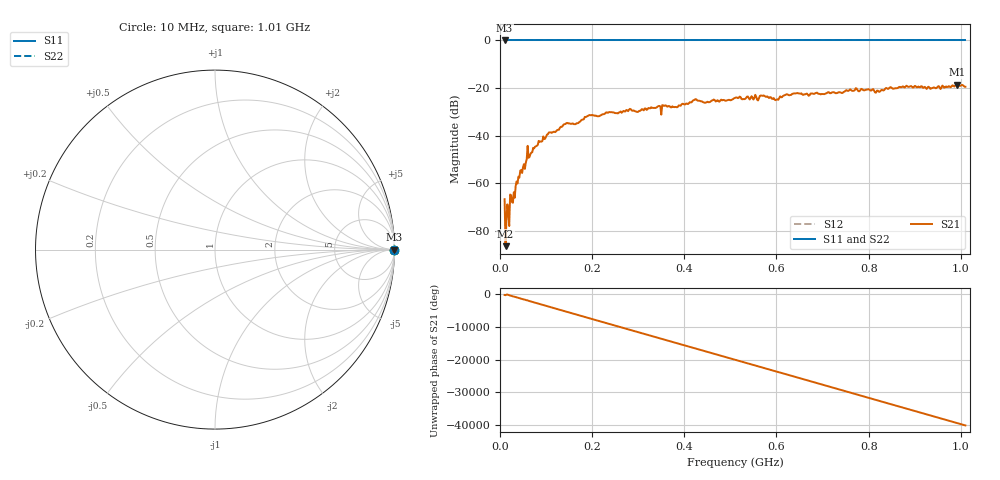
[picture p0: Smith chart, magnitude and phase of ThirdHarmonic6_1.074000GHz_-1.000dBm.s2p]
! 8/16/2025 9:47:13 AM
! C:\ANRITSUVNA\TEMP\TEMP.S2P
! CHANNEL.1
! TR.MEASUREMENT
! RAW.DATA
! RF.CORRECTION.OFF
! AVERAGING.OFF
! IF.BANDWIDTH: 5KHZ
! SWEEPTYPE:  FREQ.SWEEP(Linear)
! Reference Plane Port Info
! PORT:  PORT1  PORT2
! DISTANCE:  0  m  0  m
! TIME:  0  s  0  s
! PHASE.OFFSET:  0  deg.  0  deg.
! LOSS:  0  dB  0  dB
! REF.LOSS:  0  dB  0  dB
! REF.FREQ:  0  Hz  0  Hz
! Power Info
! POWER:  -20  dBm  -20  dBm
! EFF.POWER:  -20  dBm  -20  dBm
! SOURCE.ATTEN:  0  dB  0  dB
! TEST.ATTEN:  0  dB  0  dB
# GHZ S RI R 50.0
! FREQ.GHZ  S11RE  S11IM  S21RE  S21IM  S12RE  S12IM  S22RE  S22IM
!; PortSelection: Port_12
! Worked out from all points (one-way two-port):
!   501 points, 10 MHz to 1.01 GHz, reference 50 ohm
!   highest |S21| = -18.64 dB at 992 MHz (marker M1); lowest = -86.4 dB at 12 MHz (marker M2)
!   lowest |S11| = 0.0 dB at 10 MHz (marker M3)
!   |S11| at or under -10 dB: nowhere
!   |S22| runs from 0.0 to 0.0 dB; largest |S21 - S12| = 1.1
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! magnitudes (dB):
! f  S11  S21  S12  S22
! 10 MHz  0.0  -66.7  0.0  0.0
! 12 MHz  0.0  -86.4  0.0  0.0
! 16 MHz  0.0  -68.9  0.0  0.0
! 20 MHz  0.0  -77.9  0.0  0.0
! 24 MHz  0.0  -65.0  0.0  0.0
! 26 MHz  0.0  -67.9  0.0  0.0
! 30 MHz  0.0  -63.8  0.0  0.0
! 40 MHz  0.0  -57.2  0.0  0.0
! 64 MHz  0.0  -49.0  0.0  0.0
! 106 MHz  0.0  -38.7  0.0  0.0
! 142 MHz  0.0  -35.1  0.0  0.0
! 178 MHz  0.0  -33.3  0.0  0.0
! 196 MHz  0.0  -31.4  0.0  0.0
! 344 MHz  0.0  -27.6  0.0  0.0
! 510 MHz  0.0  -24.1  0.0  0.0
! 570 MHz  0.0  -23.3  0.0  0.0
! 600 MHz  0.0  -24.9  0.0  0.0
! 620 MHz  0.0  -22.8  0.0  0.0
! 678 MHz  0.0  -22.3  0.0  0.0
! 844 MHz  0.0  -20.1  0.0  0.0
! 992 MHz  0.0  -18.6  0.0  0.0
! 1.01 GHz  0.0  -19.4  0.0  0.0
